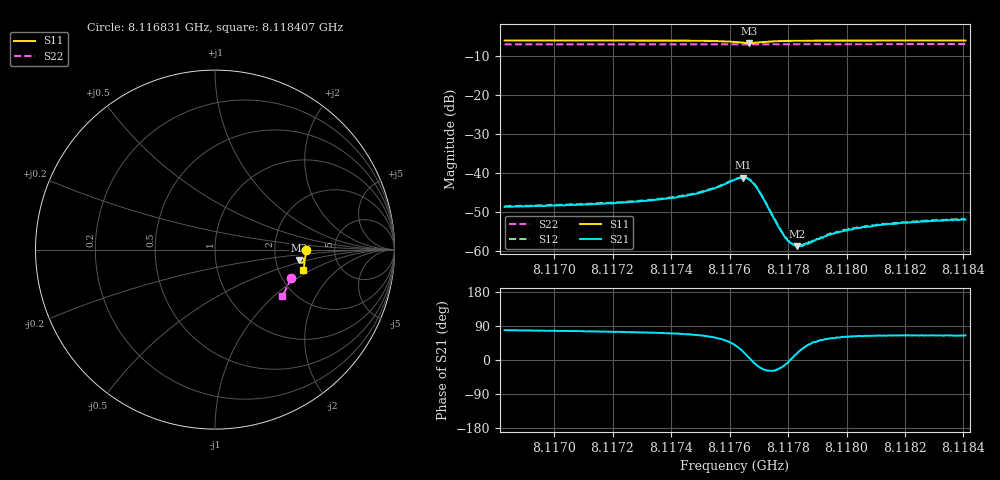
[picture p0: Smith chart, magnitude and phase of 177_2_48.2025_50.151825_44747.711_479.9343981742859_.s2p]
#  HZ  S  RI  R  50.00
! Rohde & Schwarz Vector Network Analyzer
! Rohde-Schwarz,ZNB20-2Port,1311601062101988,3.16
! Created: UTC 3/20/2024, 11:43:58 AM
! freq[Hz]  re:S11  im:S11  re:S21  im:S21  re:S12  im:S12  re:S22  im:S22
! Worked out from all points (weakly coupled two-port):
!   401 points, 8.116831 GHz to 8.118407 GHz, reference 50 ohm
!   highest |S21| = -41.09 dB at 8.117646 GHz (marker M1); lowest = -58.6 dB at 8.117831 GHz (marker M2)
!   lowest |S11| = -6.6 dB at 8.117666 GHz (marker M3), VSWR 2.78, Z = 135 - j20.4 ohm
!   |S11| at or under -10 dB: nowhere
!   |S22| runs from -6.9 to -6.8 dB; largest |S21 - S12| = 0.00023
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8.1168309e9  0.5064 -0.00399  0.000721 0.00365  0.000798 0.00371  0.4219 -0.158
8.1170948e9  0.5052 -0.0247  0.000963 0.00387  0.00102 0.00396  0.4156 -0.1756
8.1173587e9  0.5025 -0.0471  0.00148 0.00439  0.00156 0.00442  0.4088 -0.1928
8.1174927e9  0.4983 -0.0607  0.00229 0.00508  0.00242 0.00514  0.4049 -0.2014
8.1175517e9  0.4935 -0.068  0.00335 0.00557  0.00346 0.00568  0.4029 -0.2052
8.1176187e9  0.4788 -0.0737  0.00644 0.00528  0.00664 0.00531  0.4006 -0.2093
8.1176463e9  0.4692 -0.0682  0.00817 0.00334  0.00836 0.00335  0.3993 -0.2103
8.117666e9  0.4665 -0.0588  0.00833 0.000965  0.00849 0.000883  0.3987 -0.2114
8.1176817e9  0.4695 -0.0514  0.00739 -0.000782  0.00751 -0.000865  0.3984 -0.212
8.1177014e9  0.4771 -0.0465  0.00554 -0.00185  0.00562 -0.00194  0.3982 -0.213
8.1177684e9  0.4942 -0.0536  0.00187 -0.000778  0.00191 -0.000856  0.3969 -0.2176
8.1177881e9  0.496 -0.0569  0.00151 -0.000371  0.00154 -0.000377  0.3964 -0.2187
8.1178117e9  0.4971 -0.0603  0.00126 7.55e-05  0.00125 4.91e-05  0.3955 -0.2206
8.1178314e9  0.4979 -0.0631  0.00112 0.000356  0.00112 0.000362  0.3952 -0.2218
8.1178511e9  0.4982 -0.0657  0.00101 0.000611  0.00107 0.000592  0.3946 -0.223
8.1178826e9  0.4984 -0.0694  0.000932 0.00095  0.000983 0.000941  0.3935 -0.2251
8.1179338e9  0.4986 -0.0748  0.000902 0.00131  0.00097 0.00133  0.3918 -0.2283
8.117989e9  0.4981 -0.0802  0.000898 0.00159  0.000921 0.00165  0.39 -0.2318
8.1180323e9  0.4977 -0.0839  0.000922 0.00176  0.000921 0.00179  0.3886 -0.2343
8.1181466e9  0.4962 -0.0935  0.000953 0.00205  0.00101 0.00202  0.3846 -0.2415
8.118249e9  0.4946 -0.1017  0.00105 0.00217  0.00105 0.0022  0.3809 -0.2477
8.1184065e9  0.4918 -0.1137  0.00107 0.00231  0.00112 0.00237  0.3752 -0.2571
